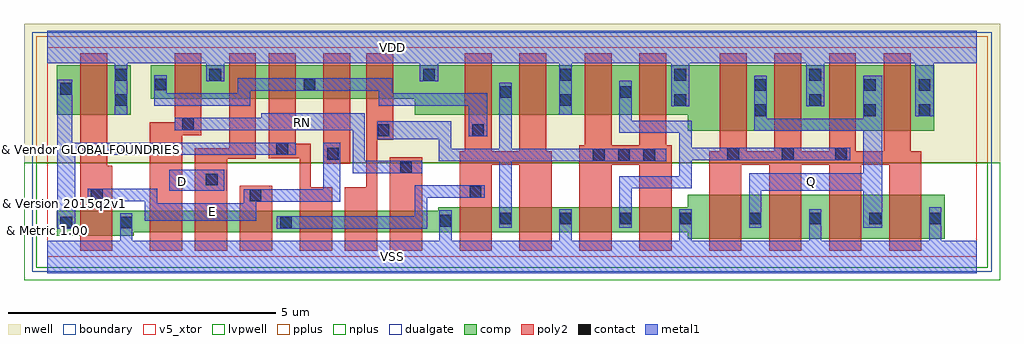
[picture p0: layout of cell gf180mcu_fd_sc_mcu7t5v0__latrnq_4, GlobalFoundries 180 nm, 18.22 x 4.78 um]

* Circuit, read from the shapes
.subckt gf180mcu_fd_sc_mcu7t5v0__latrnq_4 D E Q RN VDD VSS
XM1 VSS E n1 VSUBS nfet_05v0 w=0.465u l=0.6u
XM2 n2 RN VSS VSUBS nfet_05v0 w=0.395u l=0.6u
XM3 n3 D n2 VSUBS nfet_05v0 w=0.395u l=0.6u
XM4 n4 E n3 VSUBS nfet_05v0 w=0.395u l=0.6u
XM5 n5 n1 n4 VSUBS nfet_05v0 w=0.395u l=0.6u
XM6 n6 n7 n5 VSUBS nfet_05v0 w=0.395u l=0.6u
XM7 VSS RN n6 VSUBS nfet_05v0 w=0.395u l=0.6u
XM8 n7 n4 VSS VSUBS nfet_05v0 w=0.465u l=0.6u m=2
XM9 n8 n7 VSS VSUBS nfet_05v0 w=0.465u l=0.6u m=2
XM10 Q n8 VSS VSUBS nfet_05v0 w=0.82u l=0.6u m=4
XM11 VDD E n1 n9 pfet_05v0 w=0.925u l=0.5u
XM12 VDD RN n4 n9 pfet_05v0 w=0.63u l=0.5u
XM13 n10 D VDD n9 pfet_05v0 w=0.63u l=0.5u
XM14 n4 n1 n10 n9 pfet_05v0 w=0.63u l=0.5u
XM15 n11 E n4 n9 pfet_05v0 w=0.63u l=0.5u
XM16 VDD n7 n11 n9 pfet_05v0 w=0.63u l=0.5u
XM17 n7 n4 VDD n9 pfet_05v0 w=0.925u l=0.5u m=2
XM18 n8 n7 VDD n9 pfet_05v0 w=0.925u l=0.5u m=2
XM19 Q n8 VDD n9 pfet_05v0 w=1.22u l=0.5u m=4
.ends

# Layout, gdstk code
import gdstk
lib = gdstk.Library(unit=1e-6, precision=1e-09)
def R(c, l, rs):  # rectangles x0, y0, x1, y1
    for r in rs: c.add(gdstk.rectangle(r[:2], r[2:], *l))
def A(c, l, x, y, w, h, nx, ny, dx, dy):  # array of equal rectangles
    R(c, l, [(x+i*dx, y+j*dy, x+i*dx+w, y+j*dy+h) for i in range(nx) for j in range(ny)])
def P(c, l, *ps):  # polygons
    for p in ps: c.add(gdstk.Polygon(p, *l))
boundary = (0, 0)
nwell = (21, 0)
comp = (22, 0)
poly2 = (30, 0)
pplus = (31, 0)
nplus = (32, 0)
contact = (33, 0)
metal1 = (34, 0)
dualgate = (55, 0)
v5_xtor = (112, 1)
lvpwell = (204, 0)

gf180mcu_fd_sc_mcu7t5v0_ = lib.new_cell('gf180mcu_fd_sc_mcu7t5v0__latrnq_4')
R(gf180mcu_fd_sc_mcu7t5v0_, boundary, [(0,0,17.36,3.92)])
R(gf180mcu_fd_sc_mcu7t5v0_, nwell, [(-0.43,1.76,17.79,4.35)])
R(gf180mcu_fd_sc_mcu7t5v0_, comp, [(0.18,2.655,1.56,3.58)])
P(gf180mcu_fd_sc_mcu7t5v0_, comp, [(11.96,2.36),(11.96,2.655),(6.86,2.655),(6.86,2.95),(1.94,2.95),(1.94,3.58),(16.56,3.58),(16.56,2.36)],
  [(11.96,0.34),(11.96,0.465),(1.62,0.465),(1.62,0.395),(0.18,0.395),(0.18,0.86),(7.3,0.86),(7.3,0.93),(11.96,0.93),(11.96,1.16),(16.76,1.16),(16.76,0.34)])
R(gf180mcu_fd_sc_mcu7t5v0_, poly2, [(3.6,0.12,4.2,1.33), (6.4,0.12,7,1.86), (5.16,1.745,5.66,3.8)])
P(gf180mcu_fd_sc_mcu7t5v0_, poly2, [(0.62,0.12),(0.62,3.8),(1.12,3.8),(1.12,1.7),(1.22,1.7),(1.22,0.12)],
  [(1.92,0.12),(1.92,2.52),(2.38,2.52),(2.38,3.8),(2.88,3.8),(2.88,2.27),(2.52,2.27),(2.52,0.12)],
  [(2.76,0.12),(2.76,2.03),(3.4,2.03),(3.4,3.8),(3.9,3.8),(3.9,1.83),(3.36,1.83),(3.36,0.12)],
  [(4.72,0.12),(4.72,1.84),(4.14,1.84),(4.14,3.8),(4.64,3.8),(4.64,2.115),(4.92,2.115),(4.92,1.3),(5.32,1.3),(5.32,0.12)],
  [(5.56,0.12),(5.56,1.3),(5.96,1.3),(5.96,3.8),(6.46,3.8),(6.46,2.185),(6.16,2.185),(6.16,0.12)],
  [(7.7,0.12),(7.7,1.97),(7.8,1.97),(7.8,3.8),(8.3,3.8),(8.3,1.97),(8.82,1.97),(8.82,3.8),(9.32,3.8),(9.32,1.97),(9.42,1.97),(9.42,0.12),(8.82,0.12),(8.82,1.72),(8.3,1.72),(8.3,0.12)],
  [(9.94,0.12),(9.94,2.085),(10.04,2.085),(10.04,3.8),(10.54,3.8),(10.54,2.085),(11.06,2.085),(11.06,3.8),(11.56,3.8),(11.56,2.085),(11.66,2.085),(11.66,0.12),(11.06,0.12),(11.06,1.72),(10.54,1.72),(10.54,0.12)],
  [(12.36,0.12),(12.36,1.97),(12.56,1.97),(12.56,3.8),(13.06,3.8),(13.06,1.97),(13.58,1.97),(13.58,3.8),(14.08,3.8),(14.08,1.97),(14.6,1.97),(14.6,3.8),(15.1,3.8),(15.1,1.97),(15.62,1.97),(15.62,3.8),(16.12,3.8),(16.12,1.97),(16.32,1.97),(16.32,0.12),(15.72,0.12),(15.72,1.72),(15.2,1.72),(15.2,0.12),(14.6,0.12),(14.6,1.72),(14.08,1.72),(14.08,0.12),(13.48,0.12),(13.48,1.72),(12.96,1.72),(12.96,0.12)])
R(gf180mcu_fd_sc_mcu7t5v0_, pplus, [(-0.2,1.76,17.56,4.12)])
R(gf180mcu_fd_sc_mcu7t5v0_, nplus, [(-0.2,-0.2,17.56,1.76)])
A(gf180mcu_fd_sc_mcu7t5v0_, contact, 8.45, 0.61, 0.22, 0.22, 4, 1, 1.12, 0)
A(gf180mcu_fd_sc_mcu7t5v0_, contact, 13.11, 0.61, 0.22, 0.22, 4, 1, 1.12, 0)
A(gf180mcu_fd_sc_mcu7t5v0_, contact, 10.19, 1.795, 0.22, 0.22, 3, 1, 0.47, 0)
R(gf180mcu_fd_sc_mcu7t5v0_, contact, [(0.25,0.535,0.47,0.755), (1.37,0.535,1.59,0.755), (4.35,0.535,4.57,0.755), (7.33,0.565,7.55,0.785), (3.78,1.04,4,1.26), (0.82,1.05,1.04,1.27), (7.89,1.11,8.11,1.33), (2.965,1.335,3.185,1.555), (6.59,1.57,6.81,1.79), (12.7,1.81,12.92,2.03), (13.72,1.81,13.94,2.03), (14.71,1.81,14.93,2.03), (5.23,1.815,5.45,2.035), (4.28,1.91,4.5,2.13), (6.17,2.255,6.39,2.475), (7.935,2.255,8.155,2.475), (2.52,2.37,2.74,2.59), (13.21,2.63,13.43,2.85), (15.25,2.63,15.47,2.85), (16.27,2.63,16.49,2.85), (1.27,2.82,1.49,3.04), (9.57,2.82,9.79,3.04), (11.71,2.82,11.93,3.04), (14.23,2.82,14.45,3.04), (8.45,2.97,8.67,3.19), (10.69,2.97,10.91,3.19), (0.25,3.03,0.47,3.25), (13.21,3.1,13.43,3.32), (15.25,3.1,15.47,3.32), (16.27,3.1,16.49,3.32), (2.01,3.11,2.23,3.33), (4.79,3.11,5.01,3.33), (1.27,3.29,1.49,3.51), (3.03,3.29,3.25,3.51), (7.02,3.29,7.24,3.51), (9.57,3.29,9.79,3.51), (11.71,3.29,11.93,3.51), (14.23,3.29,14.45,3.51)])
R(gf180mcu_fd_sc_mcu7t5v0_, metal1, [(2.285,1.24,3.31,1.63)])
P(gf180mcu_fd_sc_mcu7t5v0_, metal1, [(0.19,0.53),(0.19,3.31),(0.475,3.31),(0.475,2.135),(4.64,2.135),(4.64,1.905),(0.53,1.905),(0.53,0.53)],
  [(1.825,0.68),(1.825,1.045),(0.76,1.045),(0.76,1.275),(2.055,1.275),(2.055,1),(3.675,1),(3.675,1.265),(5.16,1.265),(5.16,2.135),(5.475,2.135),(5.475,1.035),(3.905,1.035),(3.905,0.68)],
  [(5.705,1.565),(5.705,2.365),(2.38,2.365),(2.38,2.595),(4,2.595),(4,2.68),(5.935,2.68),(5.935,1.795),(7,1.795),(7,1.565)],
  [(4.29,0.53),(4.29,0.76),(6.865,0.76),(6.865,1.335),(8.17,1.335),(8.17,1.105),(7.095,1.105),(7.095,0.53)],
  [(7.875,2.25),(7.875,2.825),(6.195,2.825),(6.195,3.105),(3.79,3.105),(3.79,2.825),(2.005,2.825),(2.005,3.39),(2.235,3.39),(2.235,3.055),(3.56,3.055),(3.56,3.335),(6.445,3.335),(6.445,3.055),(8.215,3.055),(8.215,2.25)],
  [(8.445,0.55),(8.445,1.79),(7.315,1.79),(7.315,2.195),(6.165,2.195),(6.165,2.535),(7.545,2.535),(7.545,2.02),(8.445,2.02),(8.445,3.25),(8.675,3.25),(8.675,2.02),(11.56,2.02),(11.56,1.79),(8.675,1.79),(8.675,0.55)],
  [(10.685,0.55),(10.685,1.51),(11.805,1.51),(11.805,2.315),(10.685,2.315),(10.685,3.29),(10.915,3.29),(10.915,2.545),(12.035,2.545),(12.035,2.035),(14.99,2.035),(14.99,1.805),(12.035,1.805),(12.035,1.28),(10.915,1.28),(10.915,0.55)],
  [(13.105,0.55),(13.105,1.56),(15.24,1.56),(15.24,2.355),(13.205,2.355),(13.205,3.38),(13.435,3.38),(13.435,2.585),(15.24,2.585),(15.24,3.38),(15.59,3.38),(15.59,0.55),(15.24,0.55),(15.24,1.24),(13.335,1.24),(13.335,0.55)],
  [(0,-0.3),(0,0.3),(1.365,0.3),(1.365,0.815),(1.595,0.815),(1.595,0.3),(7.325,0.3),(7.325,0.875),(7.555,0.875),(7.555,0.3),(9.565,0.3),(9.565,0.89),(9.795,0.89),(9.795,0.3),(11.805,0.3),(11.805,0.89),(12.035,0.89),(12.035,0.3),(14.225,0.3),(14.225,0.89),(14.455,0.89),(14.455,0.3),(16.465,0.3),(16.465,0.93),(16.695,0.93),(16.695,0.3),(17.36,0.3),(17.36,-0.3)],
  [(16.21,2.625),(16.21,3.62),(14.51,3.62),(14.51,2.815),(14.17,2.815),(14.17,3.62),(11.99,3.62),(11.99,2.815),(11.65,2.815),(11.65,3.62),(9.795,3.62),(9.795,2.655),(9.565,2.655),(9.565,3.62),(7.3,3.62),(7.3,3.285),(6.96,3.285),(6.96,3.62),(3.31,3.62),(3.31,3.285),(2.97,3.285),(2.97,3.62),(1.495,3.62),(1.495,2.655),(1.265,2.655),(1.265,3.62),(0,3.62),(0,4.22),(17.36,4.22),(17.36,3.62),(16.55,3.62),(16.55,2.625)])
R(gf180mcu_fd_sc_mcu7t5v0_, dualgate, [(-0.28,-0.28,17.64,4.2)])
R(gf180mcu_fd_sc_mcu7t5v0_, v5_xtor, [(0,0,17.36,3.92)])
R(gf180mcu_fd_sc_mcu7t5v0_, lvpwell, [(-0.43,-0.43,17.79,1.76)])
gf180mcu_fd_sc_mcu7t5v0_.add(gdstk.Label('Q', (14.28,1.4), layer=34, texttype=10))
gf180mcu_fd_sc_mcu7t5v0_.add(gdstk.Label('RN', (4.76,2.52), layer=34, texttype=10))
gf180mcu_fd_sc_mcu7t5v0_.add(gdstk.Label('VDD', (6.44,3.92), layer=34, texttype=10))
gf180mcu_fd_sc_mcu7t5v0_.add(gdstk.Label('VSS', (6.44,0), layer=34, texttype=10))
gf180mcu_fd_sc_mcu7t5v0_.add(gdstk.Label('D', (2.52,1.4), layer=34, texttype=10))
gf180mcu_fd_sc_mcu7t5v0_.add(gdstk.Label('E', (3.08,0.84), layer=34, texttype=10))
gf180mcu_fd_sc_mcu7t5v0_.add(gdstk.Label('& Vendor GLOBALFOUNDRIES', (0,2), layer=63, texttype=63))
gf180mcu_fd_sc_mcu7t5v0_.add(gdstk.Label('& Product GF018hv5v_mcu_sc7', (0,1.5), layer=63, texttype=63))
gf180mcu_fd_sc_mcu7t5v0_.add(gdstk.Label('& Version 2015q2v1', (0,1), layer=63, texttype=63))
gf180mcu_fd_sc_mcu7t5v0_.add(gdstk.Label('& Metric 1.00', (0,0.5), layer=63, texttype=63))

lib.write_gds('gf180mcu_fd_sc_mcu7t5v0__latrnq_4.gds')
